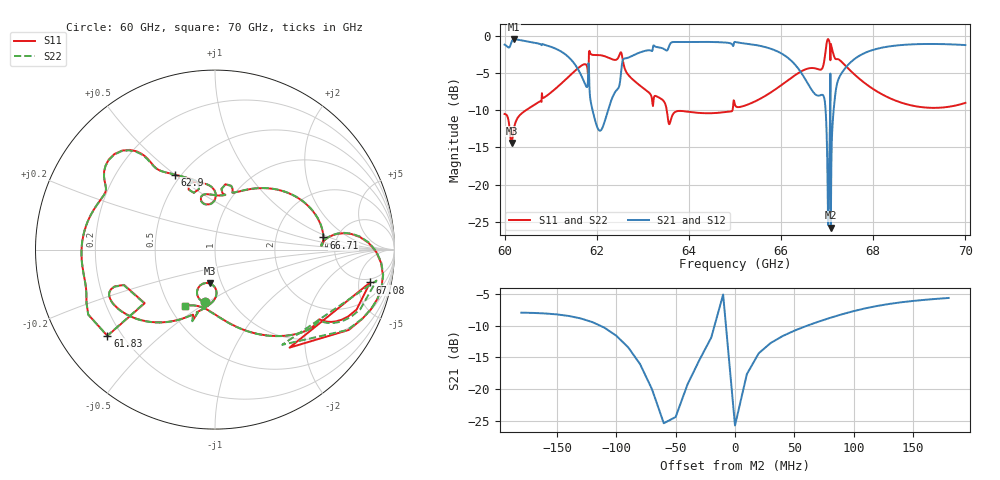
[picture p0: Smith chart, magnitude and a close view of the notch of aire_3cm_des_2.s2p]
! TOUCHSTONE file generated by CST MICROWAVE STUDIO
! Date and time: Thu Feb 22 13:38:49 2024
! Project name: aire_des.cst
! Header version: 2018
! Port assignment regex: !\s*Touchstone port\s*([0-9]+)\s*=\s*(CST MWS port|CST DS port)\s*([0-9]+|Zmin|Zmax)\s*\(\"(.*)\"\)(\s*mode\s*([0-9]+))?.*
! Touchstone port assignment:
! Touchstone port 1 = CST MWS port 1 ("")
! Touchstone port 2 = CST MWS port 2 ("")
# GHz S MA R 376.7
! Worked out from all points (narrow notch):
!   1001 points, 60 GHz to 70 GHz, reference 376.7 ohm
!   highest |S21| = -0.44 dB at 60.21 GHz (marker M1); lowest = -25.8 dB at 67.08 GHz (marker M2)
!   notch at M2: 24.2 dB deep, 30.2 MHz wide at half that depth
!   lowest |S11| = -14.4 dB at 60.15 GHz (marker M3), VSWR 1.47, Z = 331 - j129 ohm
!   |S11| at or under -10 dB: start of sweep to 60.46 GHz; 63.52 GHz to 64.94 GHz (1.425 GHz wide, 2.22 % of centre)
!   |S22| runs from -14.4 to -0.4 dB; largest |S21 - S12| = 0.00076
!   S11 on the Smith chart (normalised r, x): 60 GHz: 0.76, -0.49; 61.83 GHz: 0.15, -0.34; 62.9 GHz: 0.46, +0.50; 66.71 GHz: 3.90, +0.84; 67.08 GHz: 4.22, -7.06; 70 GHz: 0.60, -0.43
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60  0.2987 -101.2  0.873 177.9  0.873 177.9  0.2992 -101.2
60.15  0.1906 -99.2  0.9096 -176.9  0.9096 -176.9  0.1903 -99.2
60.21  0.2447 -88.1  0.9502 178.9  0.9502 178.9  0.2447 -88.0
61.06  0.4298 -115.9  0.8323 159.8  0.8323 159.8  0.4303 -115.9
61.67  0.6318 -148.6  0.5371 144.0  0.5371 144.0  0.6327 -148.5
61.83  0.7684 -141.3  0.6153 127.5  0.6153 127.4  0.7686 -141.3
62.09  0.7406 176.4  0.2322 -179.5  0.2322 -179.5  0.7412 176.5
62.55  0.7315 130.6  0.6579 -137.5  0.6579 -137.5  0.7317 130.9
62.9  0.4734 118.1  0.7659 -160.5  0.7659 -160.5  0.4746 118.2
63.34  0.3865 104.1  0.8375 -170.4  0.8375 -170.4  0.3871 104.1
63.59  0.2608 102.7  0.882 -168.5  0.882 -168.5  0.2596 103.0
65  0.3436 73.4  0.9106 167.3  0.9107 167.3  0.3436 73.3
66.09  0.4875 42.8  0.7341 145.0  0.7341 145.0  0.4882 42.9
66.67  0.6084 8.8  0.4306 140.9  0.4306 140.9  0.609 8.8
66.71  0.6074 6.4  0.4145 142.5  0.4145 142.5  0.6079 6.4
66.95  0.725 7.2  0.3611 120.1  0.3611 120.1  0.7238 7.4
67.04  0.9301 -21.0  0.1086 -89.5  0.1086 -89.5  0.9305 -20.9
67.08  0.8836 -12.0  0.05138 45.3  0.05138 45.3  0.9164 -10.8
67.18  0.7008 -33.7  0.4127 -133.1  0.4127 -133.1  0.7082 -34.2
67.29  0.6804 -41.4  0.546 -149.9  0.546 -149.9  0.6803 -41.7
68.34  0.3837 -85.1  0.8491 178.3  0.8491 178.3  0.3839 -85.2
70  0.3545 -118.1  0.8675 152.9  0.8676 152.9  0.3553 -118.3
